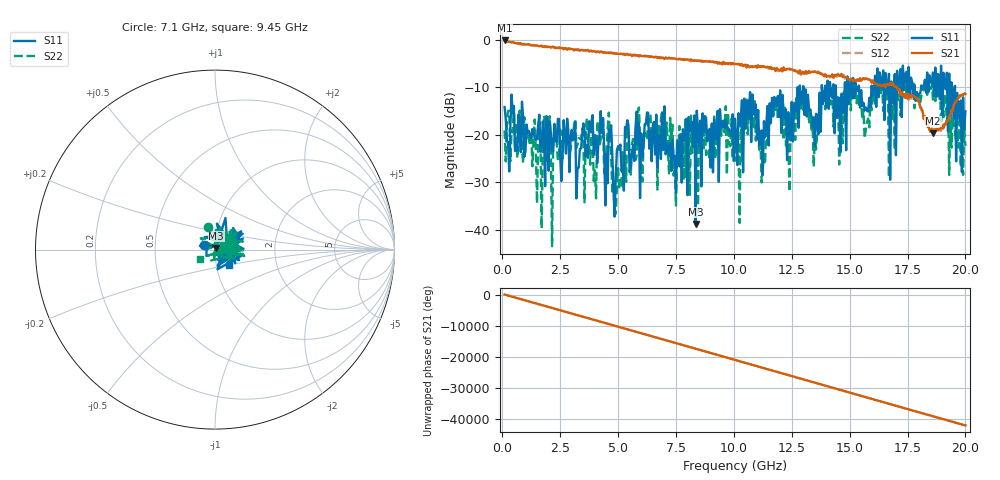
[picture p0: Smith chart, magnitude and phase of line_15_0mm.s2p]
#  HZ  S  RI  R  1.00
! Rohde & Schwarz ZVA67 4Ports - Version 4.11 - 1305.7002k04 SN: 101032
! Date: 2023-06-01 16:49:20
! Measurements: S11 S21 S12 S22
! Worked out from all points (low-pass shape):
!   399 points, 100 MHz to 20 GHz, reference 1 ohm
!   highest |S21| = -0.19 dB at 100 MHz (marker M1); lowest = -19.7 dB at 18.6 GHz (marker M2)
!   |S21| within 3 dB of the highest: start of sweep to 5.28 GHz; 5.32 GHz to 5.454 GHz (133.9 MHz wide, 2.49 % of centre) (the widest 2 of 3)
!   lowest |S11| = -38.8 dB at 8.35 GHz (marker M3), VSWR 1.02, Z = 1.01 + j0.0196 ohm
!   |S11| at or under -10 dB: start of sweep to 12.85 GHz; 13 GHz to 13.8 GHz (796.1 MHz wide, 5.94 % of centre); 15.4 GHz to 15.95 GHz (543.2 MHz wide, 3.47 % of centre) (the widest 3 of 43)
!   |S22| runs from -43.5 to -6.9 dB; largest |S21 - S12| = 2
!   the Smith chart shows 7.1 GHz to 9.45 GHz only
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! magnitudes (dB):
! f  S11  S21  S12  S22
! 100 MHz  -14.2  -0.2  -0.2  -19.1
! 1.6 GHz  -15.8  -1.4  -1.4  -17.3
! 1.7 GHz  -22.6  -1.3  -1.4  -39.7
! 2.05 GHz  -17.2  -1.5  -1.7  -16.1
! 2.15 GHz  -23.5  -1.5  -1.6  -43.5
! 2.25 GHz  -17.7  -1.7  -1.7  -19.1
! 3.45 GHz  -20.3  -2.2  -2.4  -18.7
! 4.9 GHz  -29.0  -3.0  -2.9  -36.6
! 6.75 GHz  -20.2  -3.7  -3.7  -17.8
! 8.3 GHz  -16.0  -4.4  -4.4  -22.6
! 8.35 GHz  -38.8  -4.5  -4.4  -19.2
! 8.4 GHz  -15.0  -4.4  -4.5  -16.2
! 8.45 GHz  -18.8  -4.5  -4.5  -36.3
! 8.65 GHz  -15.5  -4.7  -4.5  -15.5
! 10.05 GHz  -16.6  -5.1  -5.2  -22.7
! 13.4 GHz  -18.5  -6.8  -6.5  -17.7
! 16.4 GHz  -10.3  -9.9  -9.7  -8.3
! 16.7 GHz  -7.2  -9.5  -9.7  -29.0
! 16.75 GHz  -29.5  -9.1  -8.8  -10.0
! 16.8 GHz  -8.8  -9.6  -9.7  -15.4
! 18.6 GHz  -6.9  -19.7  -19.3  -12.9
! 20 GHz  -15.1  -11.4  -11.5  -22.4
